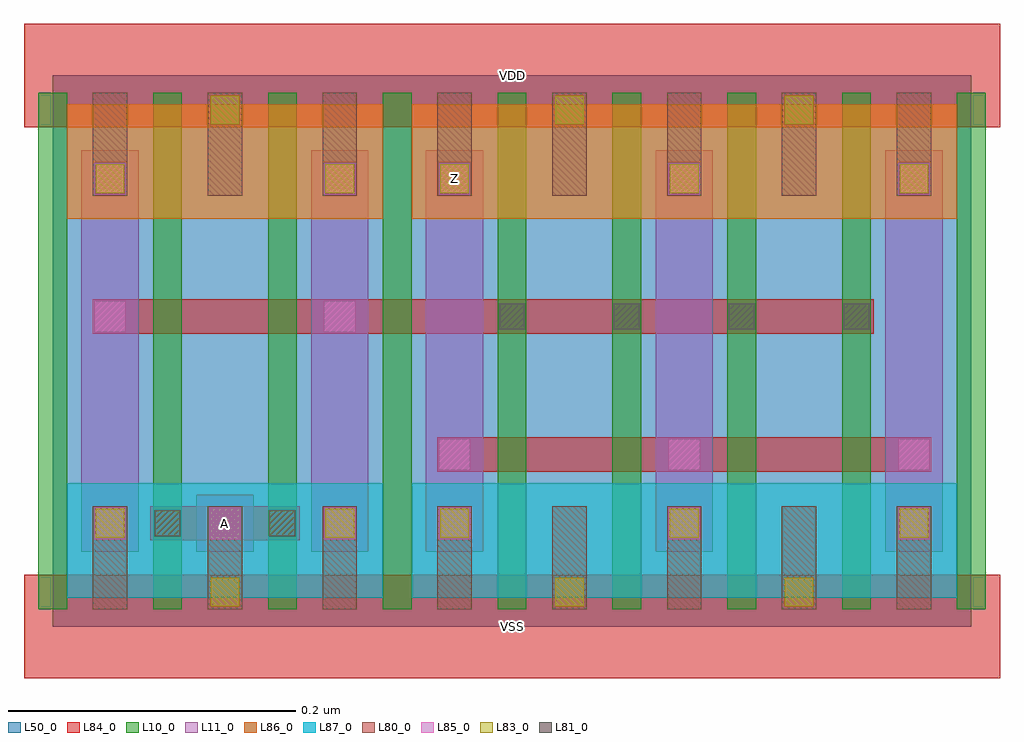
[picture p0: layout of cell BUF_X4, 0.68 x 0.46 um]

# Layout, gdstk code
import gdstk
lib = gdstk.Library(unit=1e-6, precision=1e-09)
def R(c, l, rs):  # rectangles x0, y0, x1, y1
    for r in rs: c.add(gdstk.rectangle(r[:2], r[2:], *l))
def A(c, l, x, y, w, h, nx, ny, dx, dy):  # array of equal rectangles
    R(c, l, [(x+i*dx, y+j*dy, x+i*dx+w, y+j*dy+h) for i in range(nx) for j in range(ny)])
L10_0 = (10, 0)
L11_0 = (11, 0)
L50_0 = (50, 0)
L80_0 = (80, 0)
L81_0 = (81, 0)
L83_0 = (83, 0)
L84_0 = (84, 0)
L85_0 = (85, 0)
L86_0 = (86, 0)
L87_0 = (87, 0)

buf_x4 = lib.new_cell('BUF_X4')
A(buf_x4, L10_0, -0.01, 0.012, 0.02, 0.36, 9, 1, 0.08, 0)
A(buf_x4, L11_0, 0.26, 0.052, 0.04, 0.28, 3, 1, 0.16, 0)
R(buf_x4, L11_0, [(0.02,0.052,0.06,0.332), (0.1,0.052,0.14,0.092), (0.18,0.052,0.22,0.332)])
R(buf_x4, L50_0, [(0,0,0.64,0.384)])
A(buf_x4, L80_0, 0.028, 0.012, 0.024, 0.072, 8, 2, 0.08, 0.288)
A(buf_x4, L81_0, 0.311, 0.207, 0.018, 0.018, 4, 1, 0.08, 0)
R(buf_x4, L81_0, [(0.071,0.063,0.089,0.081), (0.151,0.063,0.169,0.081)])
A(buf_x4, L83_0, 0.27, 0.062, 0.02, 0.02, 3, 2, 0.16, 0.24)
R(buf_x4, L83_0, [(0.11,0.014,0.13,0.034), (0.35,0.014,0.37,0.034), (0.51,0.014,0.53,0.034), (0.03,0.062,0.05,0.082), (0.19,0.062,0.21,0.082), (0.03,0.302,0.05,0.322), (0.19,0.302,0.21,0.322), (0.11,0.35,0.13,0.37), (0.35,0.35,0.37,0.37), (0.51,0.35,0.53,0.37)])
A(buf_x4, L84_0, 0.268, 0.06, 0.024, 0.024, 3, 2, 0.16, 0.24)
R(buf_x4, L84_0, [(-0.02,-0.036,0.66,0.036), (0.028,0.06,0.052,0.084), (0.068,0.06,0.172,0.084), (0.188,0.06,0.212,0.084), (0.268,0.108,0.612,0.132), (0.028,0.204,0.572,0.228), (0.028,0.3,0.052,0.324), (0.188,0.3,0.212,0.324), (-0.02,0.348,0.66,0.42)])
A(buf_x4, L85_0, 0.029, 0.061, 0.022, 0.022, 4, 1, 0.08, 0)
A(buf_x4, L85_0, 0.269, 0.109, 0.022, 0.022, 3, 2, 0.16, 0.192)
R(buf_x4, L85_0, [(0.429,0.061,0.451,0.083), (0.589,0.061,0.611,0.083), (0.029,0.205,0.051,0.227), (0.189,0.205,0.211,0.227), (0.029,0.301,0.051,0.323), (0.189,0.301,0.211,0.323)])
R(buf_x4, L86_0, [(0.01,0.284,0.23,0.364), (0.25,0.284,0.63,0.364)])
R(buf_x4, L87_0, [(0.01,0.02,0.23,0.1), (0.25,0.02,0.63,0.1)])
buf_x4.add(gdstk.Label('VDD', (0.32,0.384), layer=88, texttype=0))
buf_x4.add(gdstk.Label('VSS', (0.32,0), layer=88, texttype=0))
buf_x4.add(gdstk.Label('Z', (0.28,0.312), layer=31, texttype=0))
buf_x4.add(gdstk.Label('A', (0.12,0.072), layer=31, texttype=0))

lib.write_gds('BUF_X4.gds')
